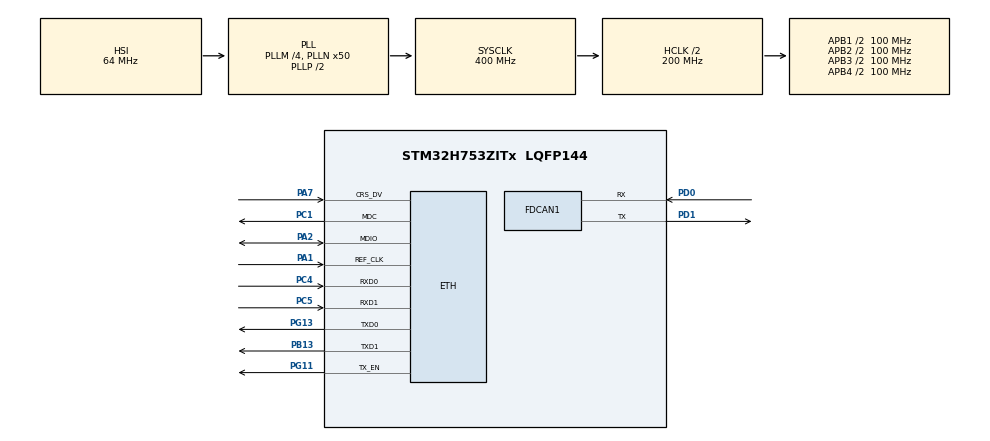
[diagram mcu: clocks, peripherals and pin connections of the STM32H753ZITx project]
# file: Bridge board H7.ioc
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CORTEX_M7.AccessPermission_S-Cortex_Memory_Protection_Unit_Region1_Settings_S=MPU_REGION_FULL_ACCESS
CORTEX_M7.AccessPermission_S-Cortex_Memory_Protection_Unit_Region2_Settings_S=MPU_REGION_FULL_ACCESS
CORTEX_M7.BaseAddress_S-Cortex_Memory_Protection_Unit_Region1_Settings_S=0x30000000
CORTEX_M7.BaseAddress_S-Cortex_Memory_Protection_Unit_Region2_Settings_S=0x30040000
CORTEX_M7.CPU_DCache=Enabled
CORTEX_M7.CPU_ICache=Enabled
CORTEX_M7.DisableExec_S-Cortex_Memory_Protection_Unit_Region1_Settings_S=MPU_INSTRUCTION_ACCESS_DISABLE
CORTEX_M7.DisableExec_S-Cortex_Memory_Protection_Unit_Region2_Settings_S=MPU_INSTRUCTION_ACCESS_DISABLE
CORTEX_M7.Enable_S-Cortex_Memory_Protection_Unit_Region1_Settings_S=MPU_REGION_ENABLE
CORTEX_M7.Enable_S-Cortex_Memory_Protection_Unit_Region2_Settings_S=MPU_REGION_ENABLE
CORTEX_M7.IsBufferable_S-Cortex_Memory_Protection_Unit_Region2_Settings_S=MPU_ACCESS_BUFFERABLE
CORTEX_M7.IsShareable_S-Cortex_Memory_Protection_Unit_Region2_Settings_S=MPU_ACCESS_SHAREABLE
CORTEX_M7.MPU_Control=MPU_PRIVILEGED_DEFAULT
CORTEX_M7.Size_S-Cortex_Memory_Protection_Unit_Region1_Settings_S=MPU_REGION_SIZE_512KB
CORTEX_M7.Size_S-Cortex_Memory_Protection_Unit_Region2_Settings_S=MPU_REGION_SIZE_1KB
CORTEX_M7.TypeExtField_S-Cortex_Memory_Protection_Unit_Region1_Settings_S=MPU_TEX_LEVEL1
CORTEX_M7.default_mode_Activation=1
ETH.MediaInterface=HAL_ETH_RMII_MODE
FDCAN1.CalculateBaudRateNominal=500000
FDCAN1.CalculateTimeBitNominal=2000
FDCAN1.CalculateTimeQuantumNominal=100.0
FDCAN1.NominalPrescaler=10
FDCAN1.NominalTimeSeg1=4
FDCAN1.NominalTimeSeg2=15
FREERTOS.Tasks01=defaultTask,24,1024,StartDefaultTask,Default,NULL,Dynamic,NULL,NULL
FREERTOS.configUSE_NEWLIB_REENTRANT=1
LWIP.BSP.number=1
LWIP.GATEWAY_ADDRESS=192.168.002.010
LWIP.IP_ADDRESS=192.168.002.010
LWIP.LWIP_DHCP=0
LWIP.LWIP_RAM_HEAP_POINTER=0x30020000
LWIP.MEM_SIZE=16352
LWIP.NETMASK_ADDRESS=255.255.255.000
LWIP.Version=v2.2.1_Cube
LWIP0.BSP.STBoard=false
LWIP0.BSP.api=BSP_COMPONENT_DRIVER
LWIP0.BSP.component=LAN8742
LWIP0.BSP.instance=LAN8742
LWIP0.BSP.name=Driver_PHY
LWIP0.BSP.semaphore=S_LAN8742
LWIP0.BSP.solution=LAN8742
Mcu.Family=STM32H7
Mcu.Name=STM32H753ZITx
Mcu.Package=LQFP144
NUCLEO-H753ZI.VCP=true
NVIC.ETH_IRQn=true\:5\:0\:true\:false\:true\:true\:true\:true\:true
NVIC.FDCAN1_IT0_IRQn=true\:5\:0\:false\:false\:true\:true\:true\:true\:true
NVIC.PriorityGroup=NVIC_PRIORITYGROUP_4
NVIC.TIM6_DAC_IRQn=true\:15\:0\:false\:false\:true\:false\:false\:true\:true
NVIC.TIM7_IRQn=true\:5\:0\:false\:false\:true\:true\:true\:true\:true
NVIC.TimeBase=TIM6_DAC_IRQn
NVIC.TimeBaseIP=TIM6
PA1.GPIO_Speed_Default_HIGH=GPIO_SPEED_FREQ_VERY_HIGH
PA1.Mode=RMII
PA1.Signal=ETH_REF_CLK
PA2.GPIO_Speed_Default_HIGH=GPIO_SPEED_FREQ_VERY_HIGH
PA2.Mode=RMII
PA2.Signal=ETH_MDIO
PA7.GPIO_Speed_Default_HIGH=GPIO_SPEED_FREQ_VERY_HIGH
PA7.Mode=RMII
PA7.Signal=ETH_CRS_DV
PB13.GPIO_Speed_Default_HIGH=GPIO_SPEED_FREQ_VERY_HIGH
PB13.Mode=RMII
PB13.Signal=ETH_TXD1
PC1.GPIO_Speed_Default_HIGH=GPIO_SPEED_FREQ_VERY_HIGH
PC1.Mode=RMII
PC1.Signal=ETH_MDC
PC14-OSC32_IN\ (OSC32_IN).Signal=RCC_OSC32_IN
PC15-OSC32_OUT\ (OSC32_OUT).Signal=RCC_OSC32_OUT
PC4.GPIO_Speed_Default_HIGH=GPIO_SPEED_FREQ_VERY_HIGH
PC4.Mode=RMII
PC4.Signal=ETH_RXD0
PC5.GPIO_Speed_Default_HIGH=GPIO_SPEED_FREQ_VERY_HIGH
PC5.Mode=RMII
PC5.Signal=ETH_RXD1
PD0.Mode=FDCAN_Activate
PD0.Signal=FDCAN1_RX
PD1.Mode=FDCAN_Activate
PD1.Signal=FDCAN1_TX
PD8.Signal=USART3_TX
PD9.Signal=USART3_RX
PG11.GPIO_Speed_Default_HIGH=GPIO_SPEED_FREQ_VERY_HIGH
PG11.Mode=RMII
PG11.Signal=ETH_TX_EN
PG13.GPIO_Speed_Default_HIGH=GPIO_SPEED_FREQ_VERY_HIGH
PG13.Mode=RMII
PG13.Signal=ETH_TXD0
PH0-OSC_IN\ (PH0).Mode=HSE-External-Clock-Source
PH0-OSC_IN\ (PH0).Signal=RCC_OSC_IN
PH1-OSC_OUT\ (PH1).Signal=RCC_OSC_OUT
ProjectManager.HeapSize=0x200
ProjectManager.StackSize=0x400
ProjectManager.TargetToolchain=STM32CubeIDE
RCC.ADCFreq_Value=129000000
RCC.APB1Freq_Value=100000000
RCC.APB2Freq_Value=100000000
RCC.APB3Freq_Value=100000000
RCC.APB4Freq_Value=100000000
RCC.CortexFreq_Value=400000000
RCC.D1PPRE=RCC_APB3_DIV2
RCC.D2PPRE1=RCC_APB1_DIV2
RCC.D2PPRE2=RCC_APB2_DIV2
RCC.D3PPRE=RCC_APB4_DIV2
RCC.DIVM1=4
RCC.DIVN1=50
RCC.DIVQ1=8
RCC.HCLKFreq_Value=200000000
RCC.HPRE=RCC_HCLK_DIV2
RCC.HSE_VALUE=8000000
RCC.PLL2FRACN=0
RCC.PLL3FRACN=0
RCC.PLLFRACN=0
RCC.PWR_Regulator_Voltage_Scale=PWR_REGULATOR_VOLTAGE_SCALE1
RCC.SYSCLKFreq_VALUE=400000000
RCC.SYSCLKSource=RCC_SYSCLKSOURCE_PLLCLK
RCC.USBFreq_Value=100000000
TIM7.Period=9999
TIM7.Prescaler=19999
VP_FREERTOS_VS_CMSIS_V2.Mode=CMSIS_V2
VP_LWIP_VS_Enabled.Mode=Enabled
VP_MEMORYMAP_VS_MEMORYMAP.Mode=CurAppReg
VP_NUCLEO-H753ZI_VS_BSP_COMMON.Mode=COMMON
VP_SYS_VS_tim6.Mode=TIM6
VP_TIM7_VS_ClockSourceINT.Mode=Enable_Timer
board=NUCLEO-H753ZI

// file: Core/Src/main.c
/* USER CODE BEGIN Header */
/**
  ******************************************************************************
  * @file           : main.c
  * @brief          : Main program body
  ******************************************************************************
  * @attention
  *
  * Copyright (c) 2026 STMicroelectronics.
  * All rights reserved.
  *
  * This software is licensed under terms that can be found in the LICENSE file
  * in the root directory of this software component.
  * If no LICENSE file comes with this software, it is provided AS-IS.
  *
  ******************************************************************************
  */
/* USER CODE END Header */
#include "main.h"
#include "FreeRTOS.h"
#include "cmsis_os2.h"
#include "lwip.h"

/* USER CODE BEGIN Includes */
#include "UDP_server.h"
#include "CAN_server.h"
#include "UDP_submodule.h"
/* USER CODE END Includes */

COM_InitTypeDef BspCOMInit;

FDCAN_HandleTypeDef hfdcan1;

TIM_HandleTypeDef htim7;

/* Definitions for defaultTask */
osThreadId_t defaultTaskHandle;
const osThreadAttr_t defaultTask_attributes = {
  .name = "defaultTask",
  .stack_size = 1024 * 4,
  .priority = (osPriority_t) osPriorityNormal,
};
/* USER CODE BEGIN PV */
volatile uint32_t debug_cmd7_count = 0;
/* USER CODE END PV */

void SystemClock_Config(void);
static void MPU_Config(void);
static void MX_GPIO_Init(void);
static void MX_FDCAN1_Init(void);
static void MX_TIM7_Init(void);
void StartDefaultTask(void *argument);

int main(void)
{

  /* MPU Configuration--------------------------------------------------------*/
  MPU_Config();

  /* Enable the CPU Cache */

  /* Enable I-Cache---------------------------------------------------------*/
  SCB_EnableICache();

  /* Enable D-Cache---------------------------------------------------------*/
  SCB_EnableDCache();

  /* MCU Configuration--------------------------------------------------------*/

  /* Reset of all peripherals, Initializes the Flash interface and the Systick. */
  HAL_Init();

  /* USER CODE BEGIN Init */
  __HAL_RCC_D2SRAM1_CLK_ENABLE();
  __HAL_RCC_D2SRAM2_CLK_ENABLE();
  __HAL_RCC_D2SRAM3_CLK_ENABLE();
  /* USER CODE END Init */

  /* Configure the system clock */
  SystemClock_Config();

  /* Initialize all configured peripherals */
  MX_GPIO_Init();
  MX_FDCAN1_Init();
  MX_TIM7_Init();
  /* USER CODE BEGIN 2 */
  RC_CAN_init(&hfdcan1, 1);
  /* USER CODE END 2 */

  /* Init scheduler */
  osKernelInitialize();

  /* Create the thread(s) */
  /* creation of defaultTask */
  defaultTaskHandle = osThreadNew(StartDefaultTask, NULL, &defaultTask_attributes);

  /* Initialize COM1 port (115200, 8 bits (7-bit data + 1 stop bit), no parity */
  BspCOMInit.BaudRate   = 115200;
  BspCOMInit.WordLength = COM_WORDLENGTH_8B;
  BspCOMInit.StopBits   = COM_STOPBITS_1;
  BspCOMInit.Parity     = COM_PARITY_NONE;
  BspCOMInit.HwFlowCtl  = COM_HWCONTROL_NONE;
  if (BSP_COM_Init(COM1, &BspCOMInit) != BSP_ERROR_NONE)
  {
    Error_Handler();
  }

  /* Start scheduler */
  osKernelStart();

  /* We should never get here as control is now taken by the scheduler */

  /* Infinite loop */
  while (1)
  {

  }
}

void SystemClock_Config(void)
{
  RCC_OscInitTypeDef RCC_OscInitStruct = {0};
  RCC_ClkInitTypeDef RCC_ClkInitStruct = {0};

  /** Supply configuration update enable
  */
  HAL_PWREx_ConfigSupply(PWR_LDO_SUPPLY);

  /** Configure the main internal regulator output voltage
  */
  __HAL_PWR_VOLTAGESCALING_CONFIG(PWR_REGULATOR_VOLTAGE_SCALE1);

  while(!__HAL_PWR_GET_FLAG(PWR_FLAG_VOSRDY)) {}

  /** Initializes the RCC Oscillators according to the specified parameters
  * in the RCC_OscInitTypeDef structure.
  */
  RCC_OscInitStruct.OscillatorType = RCC_OSCILLATORTYPE_HSI;
  RCC_OscInitStruct.HSIState = RCC_HSI_DIV1;
  RCC_OscInitStruct.HSICalibrationValue = RCC_HSICALIBRATION_DEFAULT;
  RCC_OscInitStruct.PLL.PLLState = RCC_PLL_ON;
  RCC_OscInitStruct.PLL.PLLSource = RCC_PLLSOURCE_HSI;
  RCC_OscInitStruct.PLL.PLLM = 4;
  RCC_OscInitStruct.PLL.PLLN = 50;
  RCC_OscInitStruct.PLL.PLLP = 2;
  RCC_OscInitStruct.PLL.PLLQ = 8;
  RCC_OscInitStruct.PLL.PLLR = 2;
  RCC_OscInitStruct.PLL.PLLRGE = RCC_PLL1VCIRANGE_3;
  RCC_OscInitStruct.PLL.PLLVCOSEL = RCC_PLL1VCOWIDE;
  RCC_OscInitStruct.PLL.PLLFRACN = 0;
  if (HAL_RCC_OscConfig(&RCC_OscInitStruct) != HAL_OK)
  {
    Error_Handler();
  }

  /** Initializes the CPU, AHB and APB buses clocks
  */
  RCC_ClkInitStruct.ClockType = RCC_CLOCKTYPE_HCLK|RCC_CLOCKTYPE_SYSCLK
                              |RCC_CLOCKTYPE_PCLK1|RCC_CLOCKTYPE_PCLK2
                              |RCC_CLOCKTYPE_D3PCLK1|RCC_CLOCKTYPE_D1PCLK1;
  RCC_ClkInitStruct.SYSCLKSource = RCC_SYSCLKSOURCE_PLLCLK;
  RCC_ClkInitStruct.SYSCLKDivider = RCC_SYSCLK_DIV1;
  RCC_ClkInitStruct.AHBCLKDivider = RCC_HCLK_DIV2;
  RCC_ClkInitStruct.APB3CLKDivider = RCC_APB3_DIV2;
  RCC_ClkInitStruct.APB1CLKDivider = RCC_APB1_DIV2;
  RCC_ClkInitStruct.APB2CLKDivider = RCC_APB2_DIV2;
  RCC_ClkInitStruct.APB4CLKDivider = RCC_APB4_DIV2;

  if (HAL_RCC_ClockConfig(&RCC_ClkInitStruct, FLASH_LATENCY_2) != HAL_OK)
  {
    Error_Handler();
  }
}

static void MX_FDCAN1_Init(void)
{

  hfdcan1.Instance = FDCAN1;
  hfdcan1.Init.FrameFormat = FDCAN_FRAME_CLASSIC;
  hfdcan1.Init.Mode = FDCAN_MODE_NORMAL;
  hfdcan1.Init.AutoRetransmission = DISABLE;
  hfdcan1.Init.TransmitPause = DISABLE;
  hfdcan1.Init.ProtocolException = DISABLE;
  hfdcan1.Init.NominalPrescaler = 10;
  hfdcan1.Init.NominalSyncJumpWidth = 1;
  hfdcan1.Init.NominalTimeSeg1 = 4;
  hfdcan1.Init.NominalTimeSeg2 = 15;
  hfdcan1.Init.DataPrescaler = 1;
  hfdcan1.Init.DataSyncJumpWidth = 1;
  hfdcan1.Init.DataTimeSeg1 = 1;
  hfdcan1.Init.DataTimeSeg2 = 1;
  hfdcan1.Init.MessageRAMOffset = 0;
  hfdcan1.Init.StdFiltersNbr = 0;
  hfdcan1.Init.ExtFiltersNbr = 0;
  hfdcan1.Init.RxFifo0ElmtsNbr = 0;
  hfdcan1.Init.RxFifo0ElmtSize = FDCAN_DATA_BYTES_8;
  hfdcan1.Init.RxFifo1ElmtsNbr = 0;
  hfdcan1.Init.RxFifo1ElmtSize = FDCAN_DATA_BYTES_8;
  hfdcan1.Init.RxBuffersNbr = 0;
  hfdcan1.Init.RxBufferSize = FDCAN_DATA_BYTES_8;
  hfdcan1.Init.TxEventsNbr = 0;
  hfdcan1.Init.TxBuffersNbr = 0;
  hfdcan1.Init.TxFifoQueueElmtsNbr = 0;
  hfdcan1.Init.TxFifoQueueMode = FDCAN_TX_FIFO_OPERATION;
  hfdcan1.Init.TxElmtSize = FDCAN_DATA_BYTES_8;
  if (HAL_FDCAN_Init(&hfdcan1) != HAL_OK)
  {
    Error_Handler();
  }
  /* USER CODE BEGIN FDCAN1_Init 2 */
  HAL_FDCAN_DeInit(&hfdcan1);
  hfdcan1.Init.ExtFiltersNbr       = 1;
    hfdcan1.Init.RxFifo0ElmtsNbr     = 8;
    hfdcan1.Init.RxFifo0ElmtSize     = FDCAN_DATA_BYTES_8;
    hfdcan1.Init.TxFifoQueueElmtsNbr = 8;
    hfdcan1.Init.TxFifoQueueMode     = FDCAN_TX_FIFO_OPERATION;
    hfdcan1.Init.TxElmtSize          = FDCAN_DATA_BYTES_8;
    if (HAL_FDCAN_Init(&hfdcan1) != HAL_OK)
    {
      Error_Handler();
    }
  /* USER CODE END FDCAN1_Init 2 */

}

static void MX_TIM7_Init(void)
{

  TIM_MasterConfigTypeDef sMasterConfig = {0};

  htim7.Instance = TIM7;
  htim7.Init.Prescaler = 19999;
  htim7.Init.CounterMode = TIM_COUNTERMODE_UP;
  htim7.Init.Period = 9999;
  htim7.Init.AutoReloadPreload = TIM_AUTORELOAD_PRELOAD_DISABLE;
  if (HAL_TIM_Base_Init(&htim7) != HAL_OK)
  {
    Error_Handler();
  }
  sMasterConfig.MasterOutputTrigger = TIM_TRGO_RESET;
  sMasterConfig.MasterSlaveMode = TIM_MASTERSLAVEMODE_DISABLE;
  if (HAL_TIMEx_MasterConfigSynchronization(&htim7, &sMasterConfig) != HAL_OK)
  {
    Error_Handler();
  }

}

static void MX_GPIO_Init(void)
{

  /* GPIO Ports Clock Enable */
  __HAL_RCC_GPIOC_CLK_ENABLE();
  __HAL_RCC_GPIOH_CLK_ENABLE();
  __HAL_RCC_GPIOA_CLK_ENABLE();
  __HAL_RCC_GPIOB_CLK_ENABLE();
  __HAL_RCC_GPIOD_CLK_ENABLE();
  __HAL_RCC_GPIOG_CLK_ENABLE();

}

/* USER CODE BEGIN 4 */
void RC_functionCallack(RC_header_t hdr,RC_payload_t *payload){

}

void HAL_FDCAN_RxFifo0Callback(FDCAN_HandleTypeDef *hfdcan, uint32_t RxFifo0ITs) {

    if ((RxFifo0ITs & FDCAN_IT_RX_FIFO0_NEW_MESSAGE) != 0U) {

    	RC_CAN_Receive(hfdcan,RxFifo0ITs);
    }
}
/* USER CODE END 4 */

void StartDefaultTask(void *argument)
{
  /* init code for LWIP */
  MX_LWIP_Init();
  /* USER CODE BEGIN 5 */
  udpServer_init();
  udpSubmodule_init(2,192,168,2,110);
  /* Infinite loop */
  for(;;)
  {
    osDelay(1);
  }
  /* USER CODE END 5 */
}

 /* MPU Configuration */

void MPU_Config(void)
{
  MPU_Region_InitTypeDef MPU_InitStruct = {0};

  /* Disables the MPU */
  HAL_MPU_Disable();

  /** Initializes and configures the Region and the memory to be protected
  */
  MPU_InitStruct.Enable = MPU_REGION_ENABLE;
  MPU_InitStruct.Number = MPU_REGION_NUMBER0;
  MPU_InitStruct.BaseAddress = 0x0;
  MPU_InitStruct.Size = MPU_REGION_SIZE_4GB;
  MPU_InitStruct.SubRegionDisable = 0x87;
  MPU_InitStruct.TypeExtField = MPU_TEX_LEVEL0;
  MPU_InitStruct.AccessPermission = MPU_REGION_NO_ACCESS;
  MPU_InitStruct.DisableExec = MPU_INSTRUCTION_ACCESS_DISABLE;
  MPU_InitStruct.IsShareable = MPU_ACCESS_SHAREABLE;
  MPU_InitStruct.IsCacheable = MPU_ACCESS_NOT_CACHEABLE;
  MPU_InitStruct.IsBufferable = MPU_ACCESS_NOT_BUFFERABLE;

  HAL_MPU_ConfigRegion(&MPU_InitStruct);

  /** Initializes and configures the Region and the memory to be protected
  */
  MPU_InitStruct.Number = MPU_REGION_NUMBER1;
  MPU_InitStruct.BaseAddress = 0x30000000;
  MPU_InitStruct.Size = MPU_REGION_SIZE_512KB;
  MPU_InitStruct.SubRegionDisable = 0x0;
  MPU_InitStruct.TypeExtField = MPU_TEX_LEVEL1;
  MPU_InitStruct.AccessPermission = MPU_REGION_FULL_ACCESS;
  MPU_InitStruct.IsShareable = MPU_ACCESS_NOT_SHAREABLE;

  HAL_MPU_ConfigRegion(&MPU_InitStruct);

  /** Initializes and configures the Region and the memory to be protected
  */
  MPU_InitStruct.Number = MPU_REGION_NUMBER2;
  MPU_InitStruct.BaseAddress = 0x30040000;
  MPU_InitStruct.Size = MPU_REGION_SIZE_1KB;
  MPU_InitStruct.TypeExtField = MPU_TEX_LEVEL0;
  MPU_InitStruct.IsShareable = MPU_ACCESS_SHAREABLE;
  MPU_InitStruct.IsBufferable = MPU_ACCESS_BUFFERABLE;

  HAL_MPU_ConfigRegion(&MPU_InitStruct);
  /* Enables the MPU */
  HAL_MPU_Enable(MPU_PRIVILEGED_DEFAULT);

}

void HAL_TIM_PeriodElapsedCallback(TIM_HandleTypeDef *htim)
{
  if (htim->Instance == TIM6)
  {
    HAL_IncTick();
  }
  /* USER CODE BEGIN Callback 1 */
  if (htim->Instance == TIM7)
    {
      //rovecomm periodic

    }
  /* USER CODE END Callback 1 */
}

void Error_Handler(void)
{
  __disable_irq();
  while (1)
  {
  }
}
